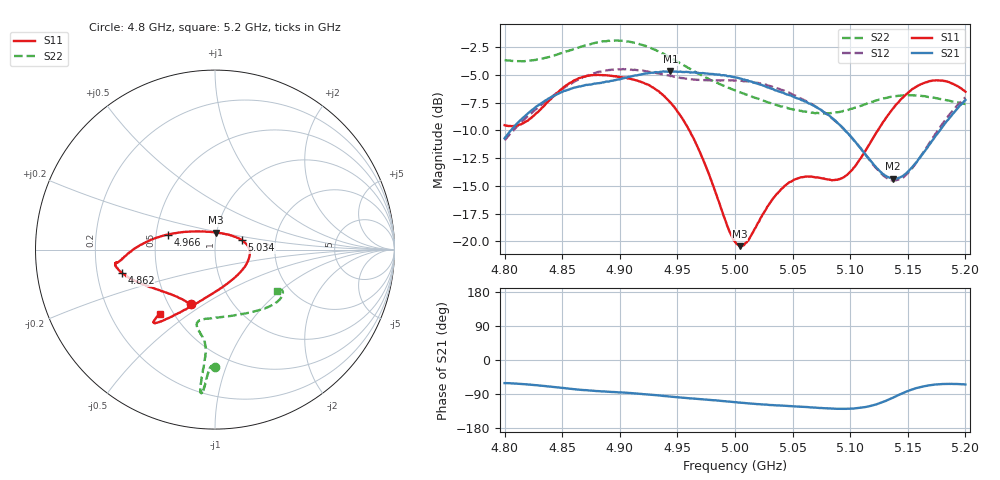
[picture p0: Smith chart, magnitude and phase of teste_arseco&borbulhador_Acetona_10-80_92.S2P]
! Network Analyzer HP8722D
! Hewlett-Packard
! Data name: Linha & Wilkinson
! Saver's name: Rodrigo Anjos
! Comments: Teste da utilização de aquisição
! continua pelo VNA HP8722D
! Time and date: 17/4/2025 15:07
!  Frequency  S11  S21  S12  S22
# HZ  S  MA R 50
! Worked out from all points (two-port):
!   401 points, 4.8 GHz to 5.2 GHz, reference 50 ohm
!   highest |S21| = -4.67 dB at 4.944 GHz (marker M1); lowest = -14.4 dB at 5.137 GHz (marker M2)
!   |S21| within 3 dB of the highest: 4.83 GHz to 5.067 GHz (236.4 MHz wide, 4.78 % of centre); 5.196178 GHz to end of sweep
!   lowest |S11| = -20.4 dB at 5.004 GHz (marker M3), VSWR 1.21, Z = 49.8 + j9.53 ohm
!   |S11| at or under -10 dB: 4.96 GHz to 5.124 GHz (163.6 MHz wide, 3.25 % of centre)
!   |S22| runs from -8.5 to -1.9 dB; largest |S21 - S12| = 0.87
!   S11 on the Smith chart (normalised r, x): 4.8 GHz: 0.64, -0.44; 4.862 GHz: 0.31, -0.11; 4.966 GHz: 0.58, +0.10; 5.034 GHz: 1.34, +0.14; 5.2 GHz: 0.42, -0.39
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4.8e9  0.3337 -113.7  0.2915 -61.0  0.2851 -175.2  0.6561 -90.2
4.819e9  0.3478 -133.7  0.3728 -64.2  0.3618 -173.8  0.6515 -91.8
4.862e9  0.5361 -166.1  0.4948 -77.4  0.5292 -177.0  0.7413 -94.1
4.867e9  0.5484 -168.1  0.5013 -79.1  0.5442 -178.2  0.7561 -94.2
4.899e9  0.5511 -172.5  0.5363 -85.4  0.5964 175.3  0.8024 -95.6
4.934e9  0.4735 -178.4  0.578 -93.7  0.5715 171.6  0.7144 -96.0
4.944e9  0.4221 177.0  0.5838 -96.7  0.5549 171.6  0.6724 -95.7
4.966e9  0.2771 162.4  0.5755 -102.2  0.5355 173.4  0.5788 -95.1
5e9  0.0995 100.2  0.5493 -111.4  0.531 176.1  0.4789 -99.3
5.004e9  0.09509 85.9  0.5431 -112.2  0.5292 175.9  0.4702 -100.1
5.012e9  0.102 59.3  0.5265 -114.7  0.5241 175.7  0.4536 -101.9
5.034e9  0.1582 19.5  0.4819 -119.4  0.4941 174.6  0.4142 -103.5
5.049e9  0.1859 4.3  0.453 -121.7  0.4615 174.0  0.3948 -99.9
5.067e9  0.1954 -14.8  0.4124 -125.1  0.4148 173.4  0.3804 -90.5
5.087e9  0.189 -46.9  0.3508 -128.5  0.3481 173.4  0.3813 -75.2
5.097e9  0.1987 -67.3  0.3104 -128.9  0.3112 174.6  0.3896 -67.1
5.134e9  0.3773 -117.0  0.1936 -103.6  0.1898 -156.5  0.4467 -43.0
5.137e9  0.3958 -118.7  0.1915 -99.7  0.1884 -151.8  0.4501 -41.7
5.15e9  0.4661 -124.6  0.2058 -82.1  0.2027 -131.8  0.4556 -36.7
5.17e9  0.5281 -129.2  0.2782 -66.2  0.2836 -112.4  0.4464 -32.1
5.184e9  0.5248 -130.5  0.3494 -63.1  0.3609 -107.4  0.4326 -31.1
5.2e9  0.4725 -130.9  0.4334 -64.6  0.4454 -106.8  0.4156 -33.4
